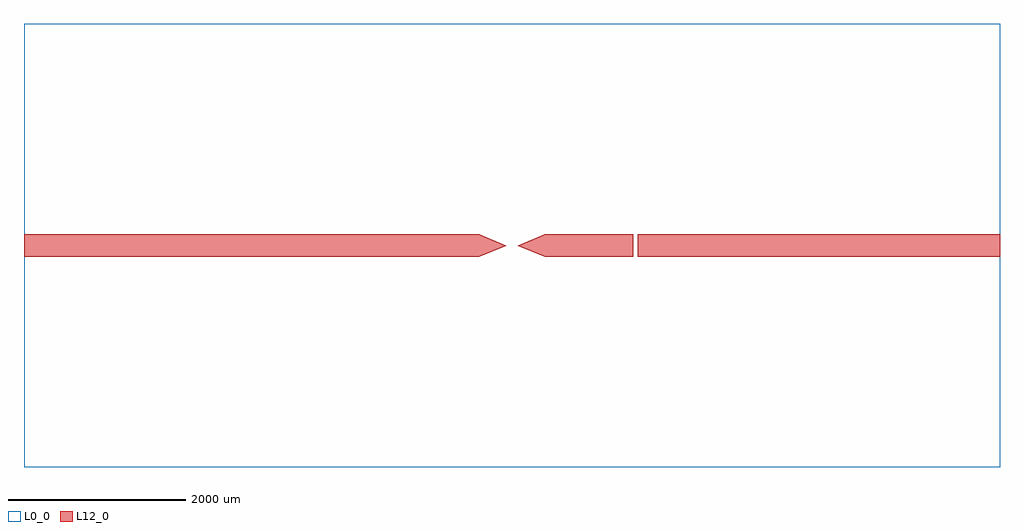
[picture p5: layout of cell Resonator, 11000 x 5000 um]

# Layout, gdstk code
import gdstk
lib = gdstk.Library(unit=1e-6, precision=1e-09)
def R(c, l, rs):  # rectangles x0, y0, x1, y1
    for r in rs: c.add(gdstk.rectangle(r[:2], r[2:], *l))
def A(c, l, x, y, w, h, nx, ny, dx, dy):  # array of equal rectangles
    R(c, l, [(x+i*dx, y+j*dy, x+i*dx+w, y+j*dy+h) for i in range(nx) for j in range(ny)])
def P(c, l, *ps):  # polygons
    for p in ps: c.add(gdstk.Polygon(p, *l))
L0_0 = (0, 0)
L12_0 = (12, 0)

resonator = lib.new_cell('Resonator')
R(resonator, L0_0, [(-5500,-2500,5500,2500)])
A(resonator, L12_0, -1439.25, -125, 70, 34, 1, 4, 0, 72)
A(resonator, L12_0, -1437.25, -89, 70, 34, 1, 3, 0, 72)
R(resonator, L12_0, [(-5500,-125,-1439.25,125), (-1367.25,-125,-367.25,125), (367.25,-125,1367.25,125), (1417.25,-125,5500,125)])
P(resonator, L12_0, [(-367.25,125),(-367.25,-125),(-67.25,0)],
  [(367.25,125),(367.25,-125),(67.25,0)])

lib.write_gds('Resonator.gds')
